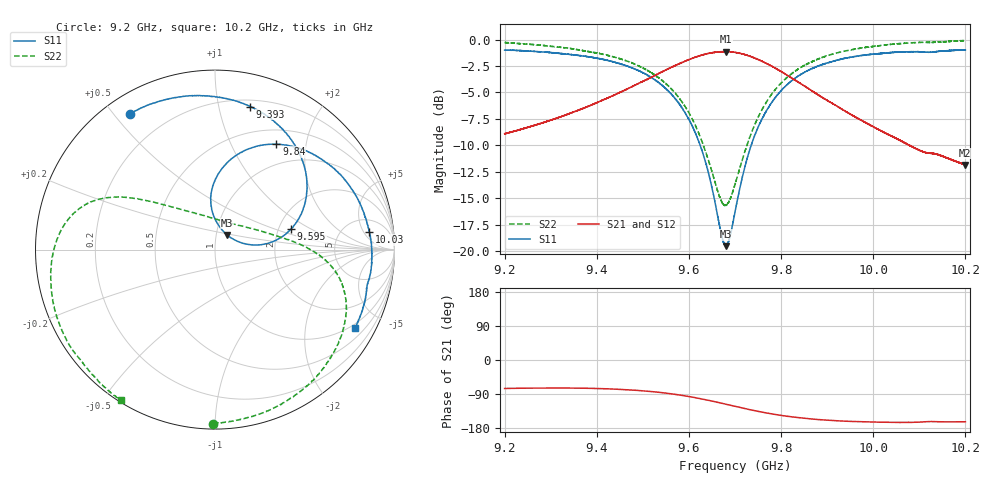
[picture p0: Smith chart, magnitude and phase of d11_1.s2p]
!Agilent Technologies,N5242A,MY51221714,A.09.90.19
!Agilent N5242A: A.09.90.19
!Date: Saturday, March 16, 2024 08:47:55
!Correction: S11(Full 2 Port(1,2))
!S21(Full 2 Port(1,2))
!S12(Full 2 Port(1,2))
!S22(Full 2 Port(1,2))
!S2P File: Measurements: S11, S21, S12, S22:
# Hz S  dB  R 50
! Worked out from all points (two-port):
!   16001 points, 9.2 GHz to 10.2 GHz, reference 50 ohm
!   highest |S21| = -1.13 dB at 9.681 GHz (marker M1); lowest = -11.8 dB at 10.2 GHz (marker M2)
!   |S21| within 3 dB of the highest: 9.491075 GHz to 9.491429 GHz (354.1 kHz wide, 0.00373 % of centre); 9.491 GHz to 9.842 GHz (350.2 MHz wide, 3.62 % of centre)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
!   lowest |S11| = -19.5 dB at 9.681 GHz (marker M3), VSWR 1.24, Z = 56.4 + j9.3 ohm
!   |S11| at or under -10 dB: 9.624 GHz to 9.735 GHz (110.6 MHz wide, 1.14 % of centre)
!   |S22| runs from -15.7 to -0.1 dB; largest |S21 - S12| = 0.0089
!   S11 on the Smith chart (normalised r, x): 9.2 GHz: 0.07, +0.55; 9.393 GHz: 0.25, +1.24; 9.595 GHz: 2.34, +0.67; 9.84 GHz: 0.69, +1.51; 10.03 GHz: 9, +7; 10.2 GHz: 0.84, -3.65
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9.2e9  -1.00 122.2  -8.90 -75.2  -8.90 -75.6  -0.27 -90.7
9.278875e9  -1.16 104.3  -7.91 -74.0  -7.91 -74.4  -0.54 -69.0
9.366688e9  -1.53 83.1  -6.56 -74.5  -6.55 -74.8  -1.01 -45.9
9.393438e9  -1.72 76.2  -6.09 -75.1  -6.07 -75.4  -1.21 -39.2
9.46375e9  -2.47 56.8  -4.71 -78.4  -4.71 -78.7  -2.00 -22.9
9.533375e9  -4.03 35.3  -3.23 -85.1  -3.23 -85.5  -3.57 -8.7
9.5945e9  -7.13 15.1  -1.99 -95.2  -1.98 -95.6  -6.51 3.8
9.633125e9  -11.15 6.3  -1.41 -104.0  -1.40 -104.4  -10.22 17.2
9.680562e9  -19.52 50.5  -1.14 -116.7  -1.13 -117.2  -15.64 77.9
9.680875e9  -19.46 51.7  -1.13 -116.8  -1.14 -117.3  -15.64 78.7
9.7e9  -16.32 86.4  -1.21 -122.2  -1.20 -122.7  -13.69 111.2
9.726062e9  -11.29 95.1  -1.48 -129.4  -1.47 -129.9  -10.00 133.1
9.75475e9  -7.85 88.7  -1.97 -136.6  -1.96 -137.1  -6.94 143.4
9.798562e9  -4.90 74.1  -2.99 -145.9  -2.98 -146.3  -4.17 151.7
9.840438e9  -3.34 59.8  -4.09 -152.5  -4.09 -152.9  -2.69 158.4
9.866688e9  -2.75 51.3  -4.84 -155.8  -4.83 -156.1  -2.09 162.8
9.949125e9  -1.68 27.4  -7.02 -161.9  -7.01 -162.3  -0.99 178.7
1.003162e10  -1.26 6.6  -8.96 -164.4  -8.95 -164.8  -0.48 -163.2
1.003338e10  -1.26 6.2  -8.99 -164.4  -8.98 -164.8  -0.47 -162.7
1.0107e10  -1.17 -10.7  -10.58 -163.6  -10.57 -163.9  -0.26 -145.6
1.019994e10  -0.98 -29.2  -11.84 -163.0  -11.83 -163.4  -0.08 -121.9
1.02e10  -0.98 -29.3  -11.84 -163.0  -11.84 -163.3  -0.09 -122.0
